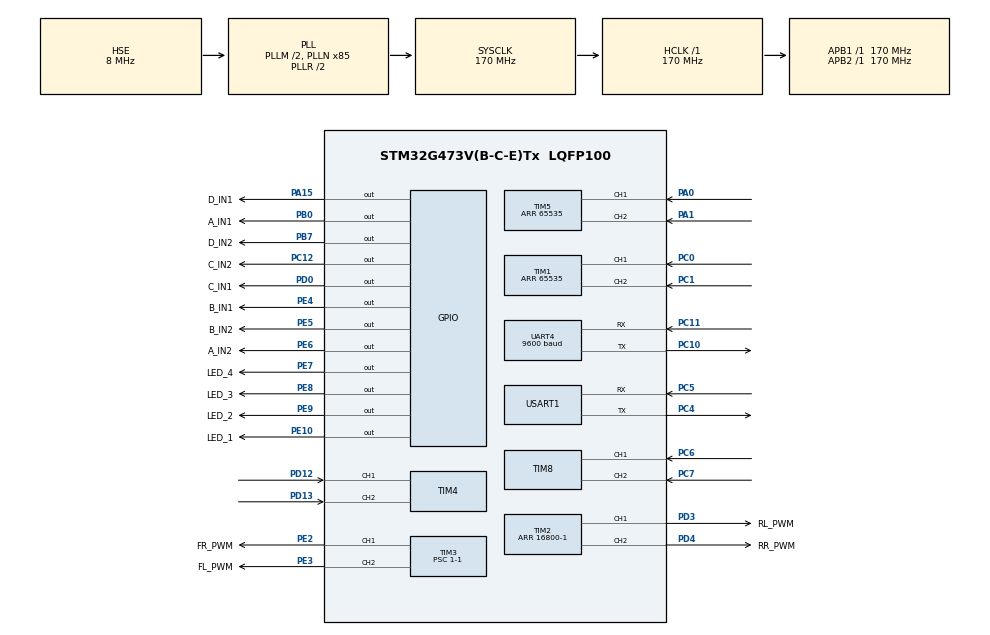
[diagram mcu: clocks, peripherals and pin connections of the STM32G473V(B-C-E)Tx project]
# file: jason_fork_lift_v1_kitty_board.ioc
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Mcu.Family=STM32G4
Mcu.Name=STM32G473V(B-C-E)Tx
Mcu.Package=LQFP100
NVIC.PriorityGroup=NVIC_PRIORITYGROUP_4
PA0.Signal=S_TIM5_CH1
PA1.Signal=S_TIM5_CH2
PA13.Mode=Serial_Wire
PA13.Signal=SYS_JTMS-SWDIO
PA14.Mode=Serial_Wire
PA14.Signal=SYS_JTCK-SWCLK
PA15.GPIO_Label=D_IN1
PA15.Signal=GPIO_Output
PB0.GPIO_Label=A_IN1
PB0.Signal=GPIO_Output
PB7.GPIO_Label=D_IN2
PB7.Signal=GPIO_Output
PC0.Signal=S_TIM1_CH1
PC1.Signal=S_TIM1_CH2
PC10.Mode=Asynchronous
PC10.Signal=UART4_TX
PC11.Mode=Asynchronous
PC11.Signal=UART4_RX
PC12.GPIO_Label=C_IN2
PC12.Signal=GPIO_Output
PC14-OSC32_IN.Mode=LSE-External-Oscillator
PC14-OSC32_IN.Signal=RCC_OSC32_IN
PC15-OSC32_OUT.Mode=LSE-External-Oscillator
PC15-OSC32_OUT.Signal=RCC_OSC32_OUT
PC4.Mode=Asynchronous
PC4.Signal=USART1_TX
PC5.Mode=Asynchronous
PC5.Signal=USART1_RX
PC6.Signal=S_TIM8_CH1
PC7.Signal=S_TIM8_CH2
PD0.GPIO_Label=C_IN1
PD0.Signal=GPIO_Output
PD12.Signal=S_TIM4_CH1
PD13.Signal=S_TIM4_CH2
PD3.GPIO_Label=RL_PWM
PD3.Signal=S_TIM2_CH1
PD4.GPIO_Label=RR_PWM
PD4.Signal=S_TIM2_CH2
PE10.GPIO_Label=LED_1
PE10.GPIO_Speed=GPIO_SPEED_FREQ_VERY_HIGH
PE10.Signal=GPIO_Output
PE2.GPIO_Label=FR_PWM
PE2.Signal=S_TIM3_CH1
PE3.GPIO_Label=FL_PWM
PE3.Signal=S_TIM3_CH2
PE4.GPIO_Label=B_IN1
PE4.Signal=GPIO_Output
PE5.GPIO_Label=B_IN2
PE5.Signal=GPIO_Output
PE6.GPIO_Label=A_IN2
PE6.Signal=GPIO_Output
PE7.GPIO_Label=LED_4
PE7.GPIO_Speed=GPIO_SPEED_FREQ_VERY_HIGH
PE7.Signal=GPIO_Output
PE8.GPIO_Label=LED_3
PE8.GPIO_Speed=GPIO_SPEED_FREQ_VERY_HIGH
PE8.Signal=GPIO_Output
PE9.GPIO_Label=LED_2
PE9.GPIO_Speed=GPIO_SPEED_FREQ_VERY_HIGH
PE9.Signal=GPIO_Output
PF0-OSC_IN.Mode=HSE-External-Oscillator
PF0-OSC_IN.Signal=RCC_OSC_IN
PF1-OSC_OUT.Mode=HSE-External-Oscillator
PF1-OSC_OUT.Signal=RCC_OSC_OUT
ProjectManager.HeapSize=0x200
ProjectManager.StackSize=0x400
ProjectManager.TargetToolchain=STM32CubeIDE
RCC.ADC12Freq_Value=170000000
RCC.ADC345Freq_Value=170000000
RCC.AHBFreq_Value=170000000
RCC.APB1Freq_Value=170000000
RCC.APB1TimFreq_Value=170000000
RCC.APB2Freq_Value=170000000
RCC.APB2TimFreq_Value=170000000
RCC.CortexFreq_Value=170000000
RCC.EXTERNAL_CLOCK_VALUE=12288000
RCC.HCLKFreq_Value=170000000
RCC.HSE_VALUE=8000000
RCC.HSI48_VALUE=48000000
RCC.HSI_VALUE=16000000
RCC.PLLM=RCC_PLLM_DIV2
RCC.PLLN=85
RCC.PLLSourceVirtual=RCC_PLLSOURCE_HSE
RCC.SYSCLKFreq_VALUE=170000000
RCC.SYSCLKSource=RCC_SYSCLKSOURCE_PLLCLK
RCC.USBFreq_Value=170000000
RCC.VCOOutputFreq_Value=340000000
SH.S_TIM1_CH1.0=TIM1_CH1,Encoder_Interface
SH.S_TIM1_CH2.0=TIM1_CH2,Encoder_Interface
SH.S_TIM2_CH1.0=TIM2_CH1,PWM Generation1 CH1
SH.S_TIM2_CH2.0=TIM2_CH2,PWM Generation2 CH2
SH.S_TIM3_CH1.0=TIM3_CH1,PWM Generation1 CH1
SH.S_TIM3_CH2.0=TIM3_CH2,PWM Generation2 CH2
SH.S_TIM4_CH1.0=TIM4_CH1,Encoder_Interface
SH.S_TIM4_CH2.0=TIM4_CH2,Encoder_Interface
SH.S_TIM5_CH1.0=TIM5_CH1,Encoder_Interface
SH.S_TIM5_CH2.0=TIM5_CH2,Encoder_Interface
SH.S_TIM8_CH1.0=TIM8_CH1,Encoder_Interface
SH.S_TIM8_CH2.0=TIM8_CH2,Encoder_Interface
TIM1.AutoReloadPreload=TIM_AUTORELOAD_PRELOAD_ENABLE
TIM1.EncoderMode=TIM_ENCODERMODE_TI12
TIM1.IC1Filter=10
TIM1.IC2Filter=10
TIM1.PeriodNoDither=65535
TIM2.AutoReloadPreload=TIM_AUTORELOAD_PRELOAD_ENABLE
TIM2.Channel-PWM\ Generation1\ CH1=TIM_CHANNEL_1
TIM2.Channel-PWM\ Generation2\ CH2=TIM_CHANNEL_2
TIM2.PeriodNoDither=16800-1
TIM3.AutoReloadPreload=TIM_AUTORELOAD_PRELOAD_ENABLE
TIM3.Channel-PWM\ Generation1\ CH1=TIM_CHANNEL_1
TIM3.Channel-PWM\ Generation2\ CH2=TIM_CHANNEL_2
TIM3.PeriodNoDither=16800-1
TIM3.Prescaler=1-1
TIM4.AutoReloadPreload=TIM_AUTORELOAD_PRELOAD_ENABLE
TIM4.EncoderMode=TIM_ENCODERMODE_TI12
TIM4.IC1Filter=10
TIM4.IC2Filter=10
TIM5.AutoReloadPreload=TIM_AUTORELOAD_PRELOAD_ENABLE
TIM5.EncoderMode=TIM_ENCODERMODE_TI12
TIM5.IC1Filter=10
TIM5.IC2Filter=10
TIM5.PeriodNoDither=65535
TIM8.AutoReloadPreload=TIM_AUTORELOAD_PRELOAD_ENABLE
TIM8.EncoderMode=TIM_ENCODERMODE_TI12
TIM8.IC1Filter=10
TIM8.IC2Filter=10
UART4.BaudRate=9600
USART1.VirtualMode-Asynchronous=VM_ASYNC
VP_SYS_VS_DBSignals.Mode=DisableDeadBatterySignals
VP_TIM2_VS_ClockSourceINT.Mode=Internal
VP_TIM3_VS_ClockSourceINT.Mode=Internal
board=custom

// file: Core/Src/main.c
/* USER CODE BEGIN Header */
/**
 ******************************************************************************
 * @file           : main.c
 * @brief          : Main program body
 ******************************************************************************
 * @attention
 *
 * Copyright (c) 2025 STMicroelectronics.
 * All rights reserved.
 *
 * This software is licensed under terms that can be found in the LICENSE file
 * in the root directory of this software component.
 * If no LICENSE file comes with this software, it is provided AS-IS.
 *
 ******************************************************************************
 */
/* USER CODE END Header */
#include "main.h"

#include "gpio.h"
#include "tim.h"
#include "usart.h"

/* USER CODE BEGIN Includes */
#include "auto_path.h"
#include "controller.h"
#include "encoder.h"
#include "mech.h"
#include "movement.h"
#include "robot.h"
#include "servo.h"

/* USER CODE END Includes */

/* USER CODE BEGIN PD */
#define TEST 0
/* USER CODE END PD */

/* USER CODE BEGIN PV */
int time_stamp = 0;
BaseVelocity test_base_vel = {0, 0, 0};
int stage = 0;

/* USER CODE END PV */

void SystemClock_Config(void);

int main(void) {

  /* MCU Configuration--------------------------------------------------------*/

  /* Reset of all peripherals, Initializes the Flash interface and the Systick. */
  HAL_Init();

  /* Configure the system clock */
  SystemClock_Config();

  /* Initialize all configured peripherals */
  MX_GPIO_Init();
  MX_TIM1_Init();
  MX_TIM3_Init();
  MX_TIM4_Init();
  MX_TIM5_Init();
  MX_TIM8_Init();
  MX_TIM2_Init();
  MX_UART4_Init();
  MX_USART1_UART_Init();
  /* USER CODE BEGIN 2 */
  HAL_TIM_PWM_Start(&htim2, TIM_CHANNEL_1);
  HAL_TIM_PWM_Start(&htim2, TIM_CHANNEL_2);
  HAL_TIM_PWM_Start(&htim3, TIM_CHANNEL_1);
  HAL_TIM_PWM_Start(&htim3, TIM_CHANNEL_2);
  HAL_TIM_Base_Start_IT(&htim1);
  HAL_TIM_Encoder_Start_IT(&htim1, TIM_CHANNEL_ALL);
  HAL_TIM_Base_Start_IT(&htim4);
  HAL_TIM_Encoder_Start_IT(&htim4, TIM_CHANNEL_ALL);
  HAL_TIM_Base_Start_IT(&htim5);
  HAL_TIM_Encoder_Start_IT(&htim5, TIM_CHANNEL_ALL);
  HAL_TIM_Base_Start_IT(&htim8);
  HAL_TIM_Encoder_Start_IT(&htim8, TIM_CHANNEL_ALL);

  HAL_GPIO_WritePin(LED_1_GPIO_Port, LED_1_Pin, GPIO_PIN_SET);
  HAL_GPIO_WritePin(LED_2_GPIO_Port, LED_2_Pin, GPIO_PIN_SET);
  HAL_GPIO_WritePin(LED_3_GPIO_Port, LED_3_Pin, GPIO_PIN_SET);
  HAL_GPIO_WritePin(LED_4_GPIO_Port, LED_4_Pin, GPIO_PIN_SET);

  servo_reset_all();
  HAL_Delay(1000);

  /* USER CODE END 2 */

  /* Infinite loop */
  while (1) {

    /* USER CODE BEGIN 3 */
    HAL_Delay(1);
    read_current_velocity(encoders);
#if (TEST == 0)
    HAL_UART_Receive(&huart1, controller_buffer, sizeof(controller_buffer), 0xFFFF);
    parse_controller_data(controller_buffer, &controller_state);
    if (controller_state.options_button && !prev_turn_on) {  // turn on/off the robot
      turn_on = !turn_on;
      HAL_GPIO_WritePin(LED_1_GPIO_Port, LED_1_Pin, turn_on ? GPIO_PIN_RESET : GPIO_PIN_SET);
    }
    prev_turn_on = controller_state.options_button;

    if (turn_on) {
      if (auto_path_selection == LEFT_PATH) {
        HAL_GPIO_WritePin(LED_2_GPIO_Port, LED_2_Pin, GPIO_PIN_SET);
        HAL_GPIO_WritePin(LED_3_GPIO_Port, LED_3_Pin, GPIO_PIN_SET);
        HAL_GPIO_WritePin(LED_4_GPIO_Port, LED_4_Pin, GPIO_PIN_RESET);
      } else if (auto_path_selection == MID_PATH) {
        HAL_GPIO_WritePin(LED_2_GPIO_Port, LED_2_Pin, GPIO_PIN_SET);
        HAL_GPIO_WritePin(LED_3_GPIO_Port, LED_3_Pin, GPIO_PIN_RESET);
        HAL_GPIO_WritePin(LED_4_GPIO_Port, LED_4_Pin, GPIO_PIN_SET);
      } else if (auto_path_selection == RIGHT_PATH) {
        HAL_GPIO_WritePin(LED_2_GPIO_Port, LED_2_Pin, GPIO_PIN_RESET);
        HAL_GPIO_WritePin(LED_3_GPIO_Port, LED_3_Pin, GPIO_PIN_SET);
        HAL_GPIO_WritePin(LED_4_GPIO_Port, LED_4_Pin, GPIO_PIN_SET);
      }

      float rotation_vel = (controller_state.l2_pressure / 1024.0 + controller_state.r2_pressure / -1024.0) * 100.0;

      if (controller_state.ps_button && !prev_auto_path_enable) {  // auto, line following
        auto_path_enable = !auto_path_enable;
        if (auto_path_enable)
          follow_auto_path(auto_path_selection);
      }
      prev_auto_path_enable = controller_state.ps_button;

      if (controller_state.square && !prev_auto_path_switch) {
        auto_path_switch = !auto_path_switch;
        if (auto_path_selection == LEFT_PATH)
          auto_path_selection = MID_PATH;
        else if (auto_path_selection == MID_PATH)
          auto_path_selection = RIGHT_PATH;
        else if (auto_path_selection == RIGHT_PATH)
          auto_path_selection = LEFT_PATH;
      }  // auto, choose path, toggle left / right / straight forward
      prev_auto_path_switch = controller_state.square;

      if (controller_state.r2 || controller_state.l2) {
        BaseVelocity target_vel = {0, 0, rotation_vel / 100.0 * ROBOT_MAX_Z_VELOCITY * 0.35};
        movement_control(target_vel);
      } else if (controller_state.r1) {
        BaseVelocity target_vel = {0, 0, ROBOT_MAX_Z_VELOCITY * -0.2};
        movement_control(target_vel);
      } else if (controller_state.l1) {
        BaseVelocity target_vel = {0, 0, ROBOT_MAX_Z_VELOCITY * 0.2};
        movement_control(target_vel);
      } else if (controller_state.up) {
        BaseVelocity target_vel = {0,
                                   ROBOT_MAX_Y_VELOCITY * 0.5,
                                   0};
        movement_control(target_vel);
      } else if (controller_state.down) {
        BaseVelocity target_vel = {0,
                                   ROBOT_MAX_Y_VELOCITY * -0.5,
                                   0};
        movement_control(target_vel);
      } else if (controller_state.left) {
        BaseVelocity target_vel = {ROBOT_MAX_X_VELOCITY * 0.5,
                                   0,
                                   0};
        movement_control(target_vel);
      } else if (controller_state.right) {
        BaseVelocity target_vel = {ROBOT_MAX_X_VELOCITY * -0.5,
                                   0,
                                   0};
        movement_control(target_vel);
      } else {
        WheelPWM target_pwm = {0, 0, 0, 0};
        wheels_control(target_pwm);
      }

      if (controller_state.triangle) {
        catch_move_down();
      } else if (controller_state.cross)
        catch_move_up();
      else if (controller_state.share_button) {
        catch_reset();
      }

      if (controller_state.circle && !prev_container_down) {
        container_down = !container_down;
        if (container_down)
          container_move_down();
        else
          container_reset();
      }
      prev_container_down = controller_state.circle;
    }
#else
    BaseVelocity target_vel = {0,
                               ROBOT_MAX_X_VELOCITY * -0.5,
                               0};
    movement_control(target_vel);
    // if (HAL_GetTick() - time_stamp > 10000) {
    //   time_stamp = HAL_GetTick();
    //   stage++;
    //   if (stage == 5)
    //     stage = 1;
    // }
    // if (stage == 1) {
    //   test_base_vel.x_vel = ROBOT_MAX_X_VELOCITY * 0.5;
    //   test_base_vel.y_vel = 0;
    //   test_base_vel.z_vel = 0;
    //   movement_control(test_base_vel);
    // } else if (stage == 2) {
    //   test_base_vel.x_vel = 0;
    //   test_base_vel.y_vel = ROBOT_MAX_X_VELOCITY * 0.5;
    //   test_base_vel.z_vel = 0;
    //   movement_control(test_base_vel);
    // } else if (stage == 3) {
    //   test_base_vel.x_vel = ROBOT_MAX_X_VELOCITY * -0.5;
    //   test_base_vel.y_vel = 0;
    //   test_base_vel.z_vel = 0;
    //   movement_control(test_base_vel);
    // } else if (stage == 4) {
    //   test_base_vel.x_vel = 0;
    //   test_base_vel.y_vel = ROBOT_MAX_X_VELOCITY * -0.5;
    //   test_base_vel.z_vel = 0;
    //   movement_control(test_base_vel);
    // }
#endif
  }
  /* USER CODE END 3 */
}

void SystemClock_Config(void) {
  RCC_OscInitTypeDef RCC_OscInitStruct = {0};
  RCC_ClkInitTypeDef RCC_ClkInitStruct = {0};

  /** Configure the main internal regulator output voltage
   */
  HAL_PWREx_ControlVoltageScaling(PWR_REGULATOR_VOLTAGE_SCALE1_BOOST);

  /** Initializes the RCC Oscillators according to the specified parameters
   * in the RCC_OscInitTypeDef structure.
   */
  RCC_OscInitStruct.OscillatorType = RCC_OSCILLATORTYPE_HSE;
  RCC_OscInitStruct.HSEState = RCC_HSE_ON;
  RCC_OscInitStruct.PLL.PLLState = RCC_PLL_ON;
  RCC_OscInitStruct.PLL.PLLSource = RCC_PLLSOURCE_HSE;
  RCC_OscInitStruct.PLL.PLLM = RCC_PLLM_DIV2;
  RCC_OscInitStruct.PLL.PLLN = 85;
  RCC_OscInitStruct.PLL.PLLP = RCC_PLLP_DIV2;
  RCC_OscInitStruct.PLL.PLLQ = RCC_PLLQ_DIV2;
  RCC_OscInitStruct.PLL.PLLR = RCC_PLLR_DIV2;
  if (HAL_RCC_OscConfig(&RCC_OscInitStruct) != HAL_OK) {
    Error_Handler();
  }

  /** Initializes the CPU, AHB and APB buses clocks
   */
  RCC_ClkInitStruct.ClockType = RCC_CLOCKTYPE_HCLK | RCC_CLOCKTYPE_SYSCLK | RCC_CLOCKTYPE_PCLK1 | RCC_CLOCKTYPE_PCLK2;
  RCC_ClkInitStruct.SYSCLKSource = RCC_SYSCLKSOURCE_PLLCLK;
  RCC_ClkInitStruct.AHBCLKDivider = RCC_SYSCLK_DIV1;
  RCC_ClkInitStruct.APB1CLKDivider = RCC_HCLK_DIV1;
  RCC_ClkInitStruct.APB2CLKDivider = RCC_HCLK_DIV1;

  if (HAL_RCC_ClockConfig(&RCC_ClkInitStruct, FLASH_LATENCY_4) != HAL_OK) {
    Error_Handler();
  }
}

void Error_Handler(void) {
  __disable_irq();
  while (1) {
  }
}
